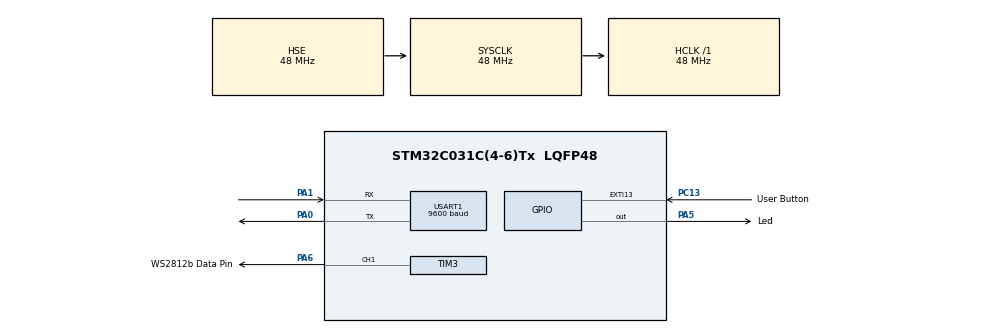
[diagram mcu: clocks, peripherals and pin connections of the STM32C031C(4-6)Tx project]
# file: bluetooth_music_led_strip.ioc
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Dma.Request0=TIM3_CH1
Dma.TIM3_CH1.0.Direction=DMA_MEMORY_TO_PERIPH
Dma.TIM3_CH1.0.EventEnable=DISABLE
Dma.TIM3_CH1.0.Instance=DMA1_Channel2
Dma.TIM3_CH1.0.MemDataAlignment=DMA_MDATAALIGN_WORD
Dma.TIM3_CH1.0.MemInc=DMA_MINC_ENABLE
Dma.TIM3_CH1.0.Mode=DMA_NORMAL
Dma.TIM3_CH1.0.PeriphDataAlignment=DMA_PDATAALIGN_WORD
Dma.TIM3_CH1.0.PeriphInc=DMA_PINC_DISABLE
Dma.TIM3_CH1.0.Polarity=HAL_DMAMUX_REQ_GEN_RISING
Dma.TIM3_CH1.0.Priority=DMA_PRIORITY_HIGH
Dma.TIM3_CH1.0.RequestNumber=1
Dma.TIM3_CH1.0.SignalID=NONE
Dma.TIM3_CH1.0.SyncEnable=DISABLE
Dma.TIM3_CH1.0.SyncPolarity=HAL_DMAMUX_SYNC_NO_EVENT
Dma.TIM3_CH1.0.SyncRequestNumber=1
Dma.TIM3_CH1.0.SyncSignalID=NONE
Mcu.Family=STM32C0
Mcu.Name=STM32C031C(4-6)Tx
Mcu.Package=LQFP48
NUCLEO-C031C6.VCP=true
NVIC.DMA1_Channel2_3_IRQn=true\:0\:0\:false\:false\:true\:false\:true\:true
NVIC.USART1_IRQn=true\:0\:0\:false\:false\:true\:true\:true\:true
PA0.Mode=Asynchronous
PA0.Signal=USART1_TX
PA1.Mode=Asynchronous
PA1.Signal=USART1_RX
PA13.GPIO_Label=DEBUG_SWDIO
PA13.Signal=DEBUG_SWDIO
PA14-BOOT0.GPIO_Label=DEBUG_SWCLK
PA14-BOOT0.Signal=DEBUG_SWCLK
PA5.GPIO_Label=Led
PA5.GPIO_Speed=GPIO_SPEED_FREQ_VERY_HIGH
PA5.PinState=GPIO_PIN_SET
PA5.Signal=GPIO_Output
PA6.GPIO_Label=WS2812b Data Pin
PA6.Signal=S_TIM3_CH1
PC13.GPIO_Label=User Button
PC13.Signal=GPXTI13
PC14-OSCX_IN\ (PC14).GPIO_Label=RCC_OSCX_IN
PC14-OSCX_IN\ (PC14).Mode=LSE-External-Oscillator
PC14-OSCX_IN\ (PC14).Signal=RCC_OSCX_IN
PC15-OSCX_OUT\ (PC15).GPIO_Label=RCC_OSCX_OUT
PC15-OSCX_OUT\ (PC15).Mode=LSE-External-Oscillator
PC15-OSCX_OUT\ (PC15).Signal=RCC_OSCX_OUT
PF0-OSC_IN\ (PF0).GPIO_Label=RCC_OSC_IN
PF0-OSC_IN\ (PF0).Mode=HSE-External-Oscillator
PF0-OSC_IN\ (PF0).Signal=RCC_OSC_IN
PF1-OSC_OUT\ (PF1).GPIO_Label=RCC_OSC_OUT
PF1-OSC_OUT\ (PF1).Mode=HSE-External-Oscillator
PF1-OSC_OUT\ (PF1).Signal=RCC_OSC_OUT
ProjectManager.HeapSize=0x200
ProjectManager.StackSize=0x400
ProjectManager.TargetToolchain=STM32CubeIDE
RCC.ADCFreq_Value=48000000
RCC.AHBFreq_Value=48000000
RCC.CortexFreq_Value=48000000
RCC.EXTERNAL_CLOCK_VALUE=12288000
RCC.HCLKFreq_Value=48000000
RCC.HSE_VALUE=48000000
RCC.HSISYSCLKDivider=RCC_HSI_DIV1
RCC.HSI_VALUE=48000000
RCC.SYSCLKFreq_VALUE=48000000
RCC.SYSCLKSource=RCC_SYSCLKSOURCE_HSE
SH.S_TIM3_CH1.0=TIM3_CH1,PWM Generation1 CH1
TIM3.Channel-PWM\ Generation1\ CH1=TIM_CHANNEL_1
TIM3.Period=60-1
USART1.BaudRate=9600
USART1.Mode=MODE_RX
USART1.VirtualMode-Asynchronous=VM_ASYNC
VP_TIM3_VS_ClockSourceINT.Mode=Internal
board=NUCLEO-C031C6

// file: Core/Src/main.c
/* USER CODE BEGIN Header */
/**
  ******************************************************************************
  * @file           : main.c
  * @brief          : Main program body
  ******************************************************************************
  * @attention
  *
  * Copyright (c) 2025 STMicroelectronics.
  * All rights reserved.
  *
  * This software is licensed under terms that can be found in the LICENSE file
  * in the root directory of this software component.
  * If no LICENSE file comes with this software, it is provided AS-IS.
  *
  ******************************************************************************
  */
/* USER CODE END Header */
#include "main.h"

/* USER CODE BEGIN Includes */
#include "stdio.h"
#include "ws2812.h"
#include <string.h>
/* USER CODE END Includes */

TIM_HandleTypeDef htim3;
DMA_HandleTypeDef hdma_tim3_ch1;
UART_HandleTypeDef huart1;

/* USER CODE BEGIN PV */
unsigned char data[7] = {'0', '0', '0', '0', '0', '0', '\0'};
uint8_t new_value = 0;
/* USER CODE END PV */

void SystemClock_Config(void);
static void MX_GPIO_Init(void);
static void MX_DMA_Init(void);
static void MX_TIM3_Init(void);
static void MX_USART1_UART_Init(void);

int main(void)
{

  /* MCU Configuration--------------------------------------------------------*/

  /* Reset of all peripherals, Initializes the Flash interface and the Systick. */
  HAL_Init();

  /* Configure the system clock */
  SystemClock_Config();

  /* Initialize all configured peripherals */
  MX_GPIO_Init();
  MX_DMA_Init();
  MX_TIM3_Init();
  MX_USART1_UART_Init();

  /* Infinite loop */
  /* USER CODE BEGIN WHILE */
  HAL_UART_Receive_IT(&huart1, data, 6);
  while (1)
  {
	  if (new_value) {
		  new_value = 0;
		  for (float i = 0; i < 1.0; i += 0.02) {
			  for (int j = 0; j < NUM_LEDS; j++) {
				  send_data_hue(j, 0, 1.0, 1.0 - i);
			  }
			  show_leds();
			  if (new_value) break;
			  HAL_Delay(1);
		  }
	  }
    /* USER CODE END WHILE */

  }
}

void HAL_UART_RxCpltCallback(UART_HandleTypeDef *huart) {
	new_value = 1;
    HAL_UART_Receive_IT(&huart1, data, 6);
}
void SystemClock_Config(void)
{
  RCC_OscInitTypeDef RCC_OscInitStruct = {0};
  RCC_ClkInitTypeDef RCC_ClkInitStruct = {0};

  __HAL_FLASH_SET_LATENCY(FLASH_LATENCY_1);

  /** Initializes the RCC Oscillators according to the specified parameters
  * in the RCC_OscInitTypeDef structure.
  */
  RCC_OscInitStruct.OscillatorType = RCC_OSCILLATORTYPE_HSE;
  RCC_OscInitStruct.HSEState = RCC_HSE_ON;
  if (HAL_RCC_OscConfig(&RCC_OscInitStruct) != HAL_OK)
  {
    Error_Handler();
  }

  /** Initializes the CPU, AHB and APB buses clocks
  */
  RCC_ClkInitStruct.ClockType = RCC_CLOCKTYPE_HCLK|RCC_CLOCKTYPE_SYSCLK
                              |RCC_CLOCKTYPE_PCLK1;
  RCC_ClkInitStruct.SYSCLKSource = RCC_SYSCLKSOURCE_HSE;
  RCC_ClkInitStruct.SYSCLKDivider = RCC_SYSCLK_DIV1;
  RCC_ClkInitStruct.AHBCLKDivider = RCC_HCLK_DIV1;
  RCC_ClkInitStruct.APB1CLKDivider = RCC_APB1_DIV1;

  if (HAL_RCC_ClockConfig(&RCC_ClkInitStruct, FLASH_LATENCY_1) != HAL_OK)
  {
    Error_Handler();
  }
}

static void MX_TIM3_Init(void)
{

  TIM_ClockConfigTypeDef sClockSourceConfig = {0};
  TIM_MasterConfigTypeDef sMasterConfig = {0};
  TIM_OC_InitTypeDef sConfigOC = {0};

  htim3.Instance = TIM3;
  htim3.Init.Prescaler = 0;
  htim3.Init.CounterMode = TIM_COUNTERMODE_UP;
  htim3.Init.Period = 60-1;
  htim3.Init.ClockDivision = TIM_CLOCKDIVISION_DIV1;
  htim3.Init.AutoReloadPreload = TIM_AUTORELOAD_PRELOAD_DISABLE;
  if (HAL_TIM_Base_Init(&htim3) != HAL_OK)
  {
    Error_Handler();
  }
  sClockSourceConfig.ClockSource = TIM_CLOCKSOURCE_INTERNAL;
  if (HAL_TIM_ConfigClockSource(&htim3, &sClockSourceConfig) != HAL_OK)
  {
    Error_Handler();
  }
  if (HAL_TIM_PWM_Init(&htim3) != HAL_OK)
  {
    Error_Handler();
  }
  sMasterConfig.MasterOutputTrigger = TIM_TRGO_RESET;
  sMasterConfig.MasterSlaveMode = TIM_MASTERSLAVEMODE_DISABLE;
  if (HAL_TIMEx_MasterConfigSynchronization(&htim3, &sMasterConfig) != HAL_OK)
  {
    Error_Handler();
  }
  sConfigOC.OCMode = TIM_OCMODE_PWM1;
  sConfigOC.Pulse = 0;
  sConfigOC.OCPolarity = TIM_OCPOLARITY_HIGH;
  sConfigOC.OCFastMode = TIM_OCFAST_DISABLE;
  if (HAL_TIM_PWM_ConfigChannel(&htim3, &sConfigOC, TIM_CHANNEL_1) != HAL_OK)
  {
    Error_Handler();
  }
  /* USER CODE BEGIN TIM3_Init 2 */
  if (HAL_TIM_Base_Start(&htim3) != HAL_OK)
    {
     	Error_Handler();
    }
  /* USER CODE END TIM3_Init 2 */
  HAL_TIM_MspPostInit(&htim3);

}

static void MX_USART1_UART_Init(void)
{

  huart1.Instance = USART1;
  huart1.Init.BaudRate = 9600;
  huart1.Init.WordLength = UART_WORDLENGTH_8B;
  huart1.Init.StopBits = UART_STOPBITS_1;
  huart1.Init.Parity = UART_PARITY_NONE;
  huart1.Init.Mode = UART_MODE_RX;
  huart1.Init.HwFlowCtl = UART_HWCONTROL_NONE;
  huart1.Init.OverSampling = UART_OVERSAMPLING_16;
  huart1.Init.OneBitSampling = UART_ONE_BIT_SAMPLE_DISABLE;
  huart1.Init.ClockPrescaler = UART_PRESCALER_DIV1;
  huart1.AdvancedInit.AdvFeatureInit = UART_ADVFEATURE_NO_INIT;
  if (HAL_UART_Init(&huart1) != HAL_OK)
  {
    Error_Handler();
  }
  if (HAL_UARTEx_SetTxFifoThreshold(&huart1, UART_TXFIFO_THRESHOLD_1_8) != HAL_OK)
  {
    Error_Handler();
  }
  if (HAL_UARTEx_SetRxFifoThreshold(&huart1, UART_RXFIFO_THRESHOLD_1_8) != HAL_OK)
  {
    Error_Handler();
  }
  if (HAL_UARTEx_DisableFifoMode(&huart1) != HAL_OK)
  {
    Error_Handler();
  }
  /* USER CODE BEGIN USART1_Init 2 */
  HAL_NVIC_SetPriority(USART1_IRQn, 0, 0);
  HAL_NVIC_EnableIRQ(USART1_IRQn);
  /* USER CODE END USART1_Init 2 */

}

static void MX_DMA_Init(void)
{

  /* DMA controller clock enable */
  __HAL_RCC_DMA1_CLK_ENABLE();

  /* DMA interrupt init */
  /* DMA1_Channel2_3_IRQn interrupt configuration */
  HAL_NVIC_SetPriority(DMA1_Channel2_3_IRQn, 0, 0);
  HAL_NVIC_EnableIRQ(DMA1_Channel2_3_IRQn);

}

static void MX_GPIO_Init(void)
{
  GPIO_InitTypeDef GPIO_InitStruct = {0};

  /* GPIO Ports Clock Enable */
  __HAL_RCC_GPIOC_CLK_ENABLE();
  __HAL_RCC_GPIOF_CLK_ENABLE();
  __HAL_RCC_GPIOA_CLK_ENABLE();

  /*Configure GPIO pin Output Level */
  HAL_GPIO_WritePin(Led_GPIO_Port, Led_Pin, GPIO_PIN_SET);

  /*Configure GPIO pin : User_Button_Pin */
  GPIO_InitStruct.Pin = User_Button_Pin;
  GPIO_InitStruct.Mode = GPIO_MODE_IT_RISING;
  GPIO_InitStruct.Pull = GPIO_NOPULL;
  HAL_GPIO_Init(User_Button_GPIO_Port, &GPIO_InitStruct);

  /*Configure GPIO pin : Led_Pin */
  GPIO_InitStruct.Pin = Led_Pin;
  GPIO_InitStruct.Mode = GPIO_MODE_OUTPUT_PP;
  GPIO_InitStruct.Pull = GPIO_NOPULL;
  GPIO_InitStruct.Speed = GPIO_SPEED_FREQ_VERY_HIGH;
  HAL_GPIO_Init(Led_GPIO_Port, &GPIO_InitStruct);

}

void Error_Handler(void)
{
  __disable_irq();
  while (1)
  {
  }
}
